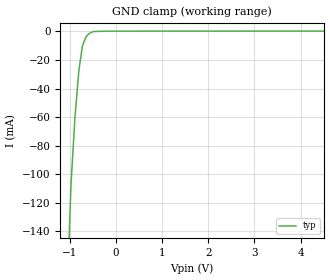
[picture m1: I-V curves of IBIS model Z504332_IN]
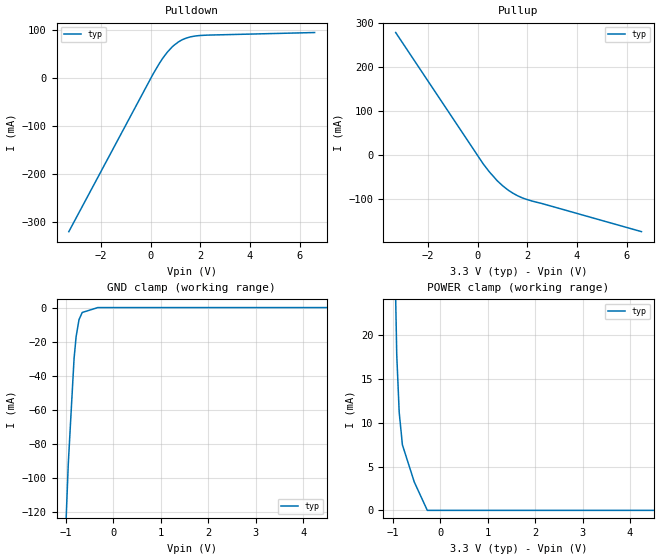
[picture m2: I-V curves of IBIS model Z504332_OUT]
| YOU ARE ONLY AUTHORIZED TO USE THIS SOFTWARE
| ACCORDING TO LICENSOR'S LICENSE RESTRICTIONS.
[IBIS Ver] 3.1
[File Name] mc74lcx08d.ibs
[File Rev] 2.0
[Source] Measured and created by ICX Technology
[Date] Friday 7/14/00 9:08:12 AM
[Copyright]
| (C) COPYRIGHT 1993-2000
| MENTOR GRAPHICS CORPORATION
| ICX STANDARD LIBRARY, ICX PROJECT MODELING,
| ICX CUSTOM MODELING, ICX VENDOR MODEL
| ALL RIGHTS RESERVED.
| THE FOLLOWING ARE TRADEMARKS OR SERVICE MARKS OF
| MENTOR GRAPHICS CORPORATION:ICX (R), ICX STANDARD
| LIBRARY(R), ICX PROJECT MODELING(R), ICX CUSTOM
| MODELING(R), qualityIBIS(TM), MODELVIEWER(TM),
| AND MODELEDITOR(TM)
| ALL COPIES OF SOFTWARE, INCLUDING BUT NOT LIMITED TO
| ANY MODIFICATIONS, ENHANCEMENTS OR DERIVATIVE WORKS,
| MUST CONTAIN ALL MENTOR GRAPHICS CORPORATION'S
| NOTICES AND LEGENDS, INCLUDING THOSE EMBEDDED IN
| SOFTWARE AND THOSE AFFIXED TO SOFTWARE MEDIUM
| AND CONTAINER, AS RECEIVED FROM MENTOR GRAPHICS
| CORPORATION.
|  ZAP Model Builder 2.7
[Component] MC74LCX08D
[Manufacturer] OnSemiconductor
[Package]
| variable   typ   min   max
R_pkg  .155ohms NA NA
L_pkg  3.028nH NA NA
C_pkg  .381pF NA NA
[Pin] signal_name  model_name  R_pin  L_pin C_pin
1 A Z504332_IN .16 3.587n .407p
2 B Z504332_IN .156 3.147n .387p
3 Y Z504332_OUT .152 2.717n .367p
4 A Z504332_IN .148 2.297n .347p
5 B Z504332_IN .152 2.717n .367p
6 Y Z504332_OUT .156 3.147n .387p
7 GROUND GND .16 3.587n .407p
8 Y Z504332_OUT .16 3.587n .407p
9 A Z504332_IN .156 3.147n .387p
10 B Z504332_IN .152 2.717n .367p
11 Y Z504332_OUT .148 2.297n .347p
12 A Z504332_IN .152 2.717n .367p
13 B Z504332_IN .156 3.147n .387p
14 VCC POWER .16 3.587n .407p
| Models and submodels in the file (2): Z504332_IN (Input), Z504332_OUT (Output)
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| (C) COPYRIGHT 1993-2000
| MENTOR GRAPHICS CORPORATION
| ICX STANDARD LIBRARY, ICX PROJECT MODELING,
| ICX CUSTOM MODELING, ICX VENDOR MODEL
| ALL RIGHTS RESERVED.
| THE FOLLOWING ARE TRADEMARKS OR SERVICE MARKS OF
| MENTOR GRAPHICS CORPORATION:ICX (R), ICX STANDARD
| LIBRARY(R), ICX PROJECT MODELING(R), ICX CUSTOM
| MODELING(R), qualityIBIS(TM), MODELVIEWER(TM),
| AND MODELEDITOR(TM)
| ALL COPIES OF SOFTWARE, INCLUDING BUT NOT LIMITED TO
| ANY MODIFICATIONS, ENHANCEMENTS OR DERIVATIVE WORKS,
| MUST CONTAIN ALL MENTOR GRAPHICS CORPORATION'S
| NOTICES AND LEGENDS, INCLUDING THOSE EMBEDDED IN
| SOFTWARE AND THOSE AFFIXED TO SOFTWARE MEDIUM
| AND CONTAINER, AS RECEIVED FROM MENTOR GRAPHICS
| CORPORATION.
| Model Application Version 1.89 2/18/99.
[Model] Z504332_IN
Model_type Input
Vinl = 800.0mV
Vinh = 2.000V
C_comp 4.000pF NA NA
| variable typ   min   max
[Voltage Range] 3.300V NA NA
[GND Clamp Reference] 0.000V NA NA
[POWER Clamp Reference] 3.300V NA NA
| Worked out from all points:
|   GND clamp passes 1 mA (typ) near -0.55 V on its own axis
[GND Clamp]
-3.3V     -2.021A    NA         NA
-1.013V   -145.8mA   NA         NA
-971.3mV  -106.9mA   NA         NA
-885.6mV  -60.03mA   NA         NA
-800mV    -26.91mA   NA         NA
-721.7mV  -9.855mA   NA         NA
-644mV    -3.794mA   NA         NA
-531.5mV  -647.9uA   NA         NA
-234.2mV  92.24uA    NA         NA
6.6V      174.3uA    NA         NA
[POWER Clamp]
-3.3V     0A         NA         NA
6.6V      0A         NA         NA
| (C) COPYRIGHT 1993-2000
| MENTOR GRAPHICS CORPORATION
| ICX STANDARD LIBRARY, ICX PROJECT MODELING,
| ICX CUSTOM MODELING, ICX VENDOR MODEL
| ALL RIGHTS RESERVED.
| THE FOLLOWING ARE TRADEMARKS OR SERVICE MARKS OF
| MENTOR GRAPHICS CORPORATION:ICX (R), ICX STANDARD
| LIBRARY(R), ICX PROJECT MODELING(R), ICX CUSTOM
| MODELING(R), qualityIBIS(TM), MODELVIEWER(TM),
| AND MODELEDITOR(TM)
| ALL COPIES OF SOFTWARE, INCLUDING BUT NOT LIMITED TO
| ANY MODIFICATIONS, ENHANCEMENTS OR DERIVATIVE WORKS,
| MUST CONTAIN ALL MENTOR GRAPHICS CORPORATION'S
| NOTICES AND LEGENDS, INCLUDING THOSE EMBEDDED IN
| SOFTWARE AND THOSE AFFIXED TO SOFTWARE MEDIUM
| AND CONTAINER, AS RECEIVED FROM MENTOR GRAPHICS
| CORPORATION.
| Model Application Version 1.89 2/18/99.
[Model] Z504332_OUT
Model_type Output
Vref=0.000V
Rref=500.0ohms
Cref=50.00pF
Vmeas=1.500V
C_comp 8.000pF NA NA
| variable typ   min   max
[Voltage Range] 3.300V NA NA
[POWER Clamp Reference] 3.300V NA NA
[Pullup Reference] 3.300V NA NA
[Pulldown Reference] 0.000V NA NA
[GND Clamp Reference] 0.000V NA NA
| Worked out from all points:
|   slope of the pulldown table from 0 to 0.495 V, typ, clamps not added: 11.5 ohm
|   slope of the pullup table from 0 to 0.495 V, typ, clamps not added: 12.8 ohm
[GND Clamp]
-3.3V     -1.769A    NA         NA
-951.9mV  -91.63mA   NA         NA
-830.4mV  -29.99mA   NA         NA
-786.8mV  -17.05mA   NA         NA
-726mV    -7.081mA   NA         NA
-658.2mV  -2.882mA   NA         NA
-329.1mV  0A         NA         NA
6.6V      0A         NA         NA
[Pulldown]
-3.3V     -319.3mA   NA         NA
96.55mV   9.384mA    NA         NA
480.1mV   41.88mA    NA         NA
665.3mV   54.57mA    NA         NA
950.9mV   69.69mA    NA         NA
1.124V    76.38mA    NA         NA
1.433V    84.14mA    NA         NA
2.007V    89.56mA    NA         NA
6.6V      95.64mA    NA         NA
[Pullup]
-3.3V     278.7mA    NA         NA
214mV     -20.06mA   NA         NA
457mV     -38.13mA   NA         NA
980mV     -69.53mA   NA         NA
1.4V      -87.17mA   NA         NA
1.927V    -101.2mA   NA         NA
6.6V      -175.6mA   NA         NA
[POWER Clamp]
-3.3V     695.9mA    NA         NA
-919mV    17.8mA     NA         NA
-867mV    11.19mA    NA         NA
-799mV    7.468mA    NA         NA
-549mV    3.235mA    NA         NA
-274.5mV  0A         NA         NA
6.6V      0A         NA         NA
[Ramp]
| variable typ min max
dV/dt_r 1.948/358.2p NA NA
dV/dt_f 1.948/762.1p NA NA
R_load = 500.0Ohms
